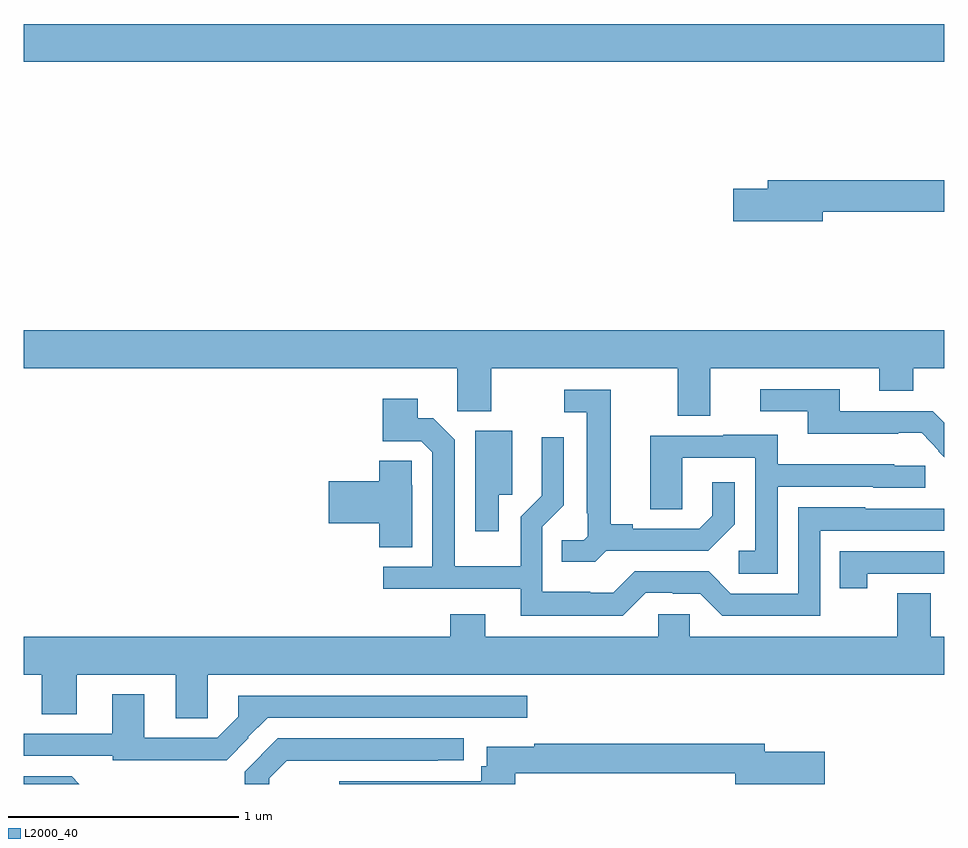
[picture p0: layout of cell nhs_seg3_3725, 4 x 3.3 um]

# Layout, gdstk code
import gdstk
lib = gdstk.Library(unit=1e-6, precision=1e-09)
def R(c, l, rs):  # rectangles x0, y0, x1, y1
    for r in rs: c.add(gdstk.rectangle(r[:2], r[2:], *l))
def P(c, l, *ps):  # polygons
    for p in ps: c.add(gdstk.Polygon(p, *l))
L2000_40 = (2000, 40)

nhs_seg3_3725 = lib.new_cell('nhs_seg3_3725')
R(nhs_seg3_3725, L2000_40, [(303,743.54,307,743.704)])
P(nhs_seg3_3725, L2000_40, [(306.472,742.888),(307,742.888),(307,743.024),(306.233,743.024),(306.233,742.988),(306.084,742.988),(306.084,742.846),(306.472,742.846)],
  [(305.983,742.208),(306.719,742.208),(306.719,742.109),(306.867,742.109),(306.867,742.208),(307,742.208),(307,742.372),(303,742.372),(303,742.208),(304.884,742.208),(304.884,742.021),(305.031,742.021),(305.031,742.208),(305.843,742.208),(305.843,742),(305.983,742)],
  [(307,741.97),(306.951,742.02),(306.547,742.02),(306.547,742.116),(306.201,742.116),(306.201,742.02),(306.407,742.02),(306.407,741.923),(306.8,741.923),(306.8,741.926),(306.902,741.926),(306.978,741.849),(306.975,741.846),(307,741.821)],
  [(305.532,741.414),(305.974,741.414),(306.09,741.53),(306.09,741.712),(305.993,741.712),(305.993,741.567),(305.936,741.51),(305.647,741.51),(305.647,741.53),(305.551,741.53),(305.551,742.113),(305.349,742.113),(305.349,742.017),(305.447,742.017),(305.447,741.577),(305.451,741.577),(305.451,741.477),(305.433,741.459),(305.338,741.459),(305.338,741.367),(305.484,741.367)],
  [(305.703,741.231),(305.82,741.231),(305.82,741.228),(305.94,741.228),(306.036,741.132),(306.462,741.132),(306.462,741.501),(307,741.501),(307,741.597),(306.657,741.597),(306.657,741.604),(306.366,741.604),(306.366,741.228),(306.072,741.228),(305.976,741.324),(305.655,741.324),(305.562,741.231),(305.462,741.231),(305.462,741.235),(305.253,741.235),(305.253,741.519),(305.346,741.612),(305.346,741.907),(305.25,741.907),(305.25,741.76),(305.252,741.76),(305.252,741.654),(305.16,741.562),(305.16,741.346),(304.872,741.346),(304.872,741.897),(304.779,741.99),(304.711,741.99),(304.711,742.075),(304.559,742.075),(304.559,741.891),(304.728,741.891),(304.776,741.843),(304.776,741.345),(304.563,741.345),(304.563,741.249),(305.159,741.249),(305.159,741.131),(305.603,741.131)],
  [(305.065,741.657),(305.122,741.657),(305.122,741.936),(304.961,741.936),(304.961,741.498),(305.065,741.498)],
  [(306.276,741.693),(306.693,741.693),(306.693,741.687),(306.918,741.687),(306.918,741.783),(306.783,741.783),(306.783,741.79),(306.277,741.79),(306.277,741.919),(306.041,741.919),(306.041,741.915),(305.723,741.915),(305.723,741.595),(305.862,741.595),(305.862,741.819),(306.18,741.819),(306.18,741.414),(306.108,741.414),(306.108,741.313),(306.276,741.313)],
  [(304.687,741.698),(304.686,741.698),(304.686,741.806),(304.544,741.806),(304.544,741.716),(304.326,741.716),(304.326,741.533),(304.544,741.533),(304.544,741.43),(304.687,741.43)],
  [(306.666,741.315),(307,741.315),(307,741.411),(306.547,741.411),(306.547,741.252),(306.666,741.252)],
  [(303.798,740.876),(307,740.876),(307,741.04),(306.943,741.04),(306.943,741.23),(306.796,741.23),(306.796,741.04),(305.895,741.04),(305.895,741.138),(305.757,741.138),(305.757,741.04),(305.005,741.04),(305.005,741.139),(304.853,741.139),(304.853,741.04),(303,741.04),(303,740.876),(303.077,740.876),(303.077,740.704),(303.229,740.704),(303.229,740.876),(303.659,740.876),(303.659,740.686),(303.798,740.686)],
  [(303.977,740.6),(303.974,740.603),(304.059,740.688),(305.188,740.688),(305.188,740.784),(303.931,740.784),(303.931,740.692),(303.84,740.601),(303.523,740.601),(303.523,740.791),(303.383,740.791),(303.383,740.619),(303,740.619),(303,740.523),(303.387,740.523),(303.387,740.504),(303.881,740.504)],
  [(304.067,740.424),(304.142,740.5),(304.246,740.5),(304.246,740.502),(304.799,740.502),(304.799,740.503),(304.912,740.503),(304.912,740.598),(304.103,740.598),(303.959,740.454),(303.959,740.4),(304.067,740.4)],
  [(305.135,740.446),(306.092,740.446),(306.092,740.4),(306.481,740.4),(306.481,740.541),(306.22,740.541),(306.22,740.575),(305.218,740.575),(305.218,740.562),(305.012,740.562),(305.012,740.478),(304.989,740.478),(304.989,740.412),(304.655,740.412),(304.655,740.413),(304.371,740.413),(304.371,740.4),(305.135,740.4)],
  [(303.208,740.433),(303,740.433),(303,740.4),(303.241,740.4)])

lib.write_gds('nhs_seg3_3725.gds')
